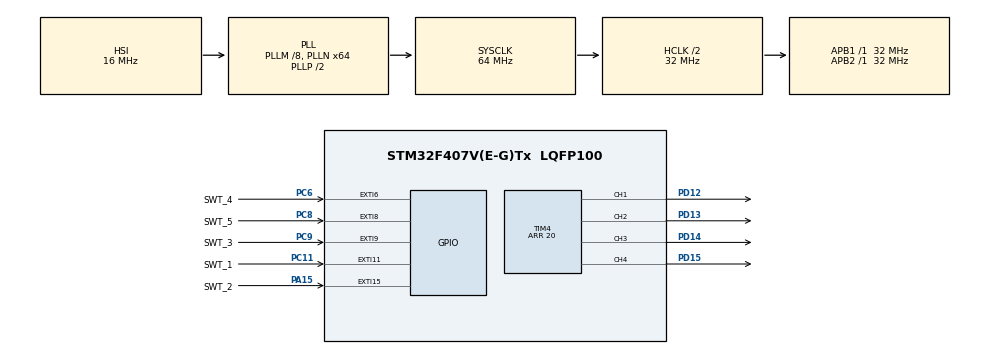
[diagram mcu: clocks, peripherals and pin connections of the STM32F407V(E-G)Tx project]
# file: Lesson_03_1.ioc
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Mcu.Family=STM32F4
Mcu.Name=STM32F407V(E-G)Tx
Mcu.Package=LQFP100
NVIC.EXTI15_10_IRQn=true\:0\:0\:false\:false\:true\:true\:true
NVIC.EXTI9_5_IRQn=true\:0\:0\:false\:false\:true\:true\:true
NVIC.PriorityGroup=NVIC_PRIORITYGROUP_4
NVIC.RCC_IRQn=true\:0\:0\:false\:false\:true\:true\:false
NVIC.TIM4_IRQn=true\:0\:0\:false\:false\:true\:true\:true
PA15.GPIO_Label=SWT_2
PA15.Signal=GPXTI15
PC11.GPIO_Label=SWT_1
PC11.Signal=GPXTI11
PC6.GPIO_Label=SWT_4
PC6.Signal=GPXTI6
PC8.GPIO_Label=SWT_5
PC8.Signal=GPXTI8
PC9.GPIO_Label=SWT_3
PC9.Signal=GPXTI9
PD12.GPIO_Speed=GPIO_SPEED_FREQ_HIGH
PD12.Signal=S_TIM4_CH1
PD13.GPIO_Speed=GPIO_SPEED_FREQ_HIGH
PD13.Signal=S_TIM4_CH2
PD14.GPIO_Speed=GPIO_SPEED_FREQ_HIGH
PD14.Signal=S_TIM4_CH3
PD15.GPIO_Speed=GPIO_SPEED_FREQ_HIGH
PD15.Signal=S_TIM4_CH4
PH0-OSC_IN.Mode=HSE-External-Oscillator
PH0-OSC_IN.Signal=RCC_OSC_IN
PH1-OSC_OUT.Mode=HSE-External-Oscillator
PH1-OSC_OUT.Signal=RCC_OSC_OUT
ProjectManager.HeapSize=0x200
ProjectManager.StackSize=0x400
ProjectManager.TargetToolchain=STM32CubeIDE
RCC.48MHZClocksFreq_Value=32000000
RCC.AHBCLKDivider=RCC_SYSCLK_DIV2
RCC.AHBFreq_Value=32000000
RCC.APB1Freq_Value=32000000
RCC.APB1TimFreq_Value=32000000
RCC.APB2Freq_Value=32000000
RCC.APB2TimFreq_Value=32000000
RCC.CortexFreq_Value=32000000
RCC.HCLKFreq_Value=32000000
RCC.HSE_Timout=100
RCC.HSE_VALUE=25000000
RCC.HSI_VALUE=16000000
RCC.LSE_VALUE=32768
RCC.PLLM=8
RCC.PLLN=64
RCC.SYSCLKFreq_VALUE=64000000
RCC.SYSCLKSource=RCC_SYSCLKSOURCE_PLLCLK
RCC.VCOOutputFreq_Value=128000000
SH.S_TIM4_CH1.0=TIM4_CH1,PWM Generation1 CH1
SH.S_TIM4_CH2.0=TIM4_CH2,PWM Generation2 CH2
SH.S_TIM4_CH3.0=TIM4_CH3,PWM Generation3 CH3
SH.S_TIM4_CH4.0=TIM4_CH4,PWM Generation4 CH4
TIM4.Channel-PWM\ Generation1\ CH1=TIM_CHANNEL_1
TIM4.Channel-PWM\ Generation2\ CH2=TIM_CHANNEL_2
TIM4.Channel-PWM\ Generation3\ CH3=TIM_CHANNEL_3
TIM4.Channel-PWM\ Generation4\ CH4=TIM_CHANNEL_4
TIM4.Period=20
VP_TIM4_VS_ClockSourceINT.Mode=Internal
board=custom

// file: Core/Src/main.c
/* USER CODE BEGIN Header */
/**
  ******************************************************************************
  * @file           : main.c
  * @brief          : Main program body
  ******************************************************************************
  * @attention
  *
  * <h2><center>&copy; Copyright (c) 2021 STMicroelectronics.
  * All rights reserved.</center></h2>
  *
  * This software component is licensed by ST under BSD 3-Clause license,
  * the "License"; You may not use this file except in compliance with the
  * License. You may obtain a copy of the License at:
  *                        opensource.org/licenses/BSD-3-Clause
  *
  ******************************************************************************
  */
/* USER CODE END Header */
#include "main.h"

TIM_HandleTypeDef htim4;

/* USER CODE BEGIN PV */
int value_prescaler[] = { 320, 160, 107, 80, 64, 54, 46, 40, 36, 32 };
int mode=0;							//variable for switch mode
int duty_cicly = 0; 				//variable for duty_cicly
int number_prescaler = 0;           //variable for choosing prescaler (switch frequency)

/* USER CODE END PV */

void SystemClock_Config(void);
static void MX_GPIO_Init(void);
static void MX_TIM4_Init(void);

/* USER CODE BEGIN 0 */
void HAL_GPIO_EXTI_Callback(uint16_t GPIO_Pin); //initialization interrupt handler for switch mode
/* USER CODE END 0 */

int main(void)
{

  /* MCU Configuration--------------------------------------------------------*/

  /* Reset of all peripherals, Initializes the Flash interface and the Systick. */
  HAL_Init();

  /* Configure the system clock */
  SystemClock_Config();

  /* Initialize all configured peripherals */
  MX_GPIO_Init();
  MX_TIM4_Init();
  /* USER CODE BEGIN 2 */
  HAL_TIM_PWM_Start(&htim4, TIM_CHANNEL_1);
  HAL_TIM_PWM_Start(&htim4, TIM_CHANNEL_2);
  HAL_TIM_PWM_Start(&htim4, TIM_CHANNEL_3);
  HAL_TIM_PWM_Start(&htim4, TIM_CHANNEL_4);
  //TIM4->CCR2=10;
  //TIM4->PSC=320;
  /* USER CODE END 2 */

  /* Infinite loop */
  while (1)
  {

    /* USER CODE BEGIN 3 */
	  void HAL_GPIO_EXTI_Callback(uint16_t GPIO_Pin);
	  TIM4->PSC=value_prescaler[number_prescaler];			//choosing duty cycle
	  switch (mode) // choose mode
	  	  	{
	  	  	case 0:  										//all LED off
	  	  	{
	  	  	TIM4->CCR1=0;
	  	  	TIM4->CCR2=0;
	  	  	TIM4->CCR3=0;
	  	  	TIM4->CCR4=0;
	  	  	}
	  	  		break;
	  	  	case 1:											//RED on
	  	  	{
	  	  	TIM4->CCR1=0;
			TIM4->CCR2=duty_cycle;
			TIM4->CCR3=0;
			TIM4->CCR4=0;
	  	  	}
	  	  		break;
	  	  	case 2:											//ORANGE on
	  	  	{
	  	  	TIM4->CCR1=0;
			TIM4->CCR2=0;
			TIM4->CCR3=duty_cycle;
			TIM4->CCR4=0;
	  	  	}
	  	  		break;
	  	  	case 3:											//GREEN on
	  	  	{
	  	  	TIM4->CCR1=0;
			TIM4->CCR2=0;
			TIM4->CCR3=0;
			TIM4->CCR4=duty_cycle;

	  	  	}
	  	  		break;
	  	  	case 4:                   						//BLUE on
	  	  {
			TIM4->CCR1=duty_cicly;
			TIM4->CCR2=0;
			TIM4->CCR3=0;
			TIM4->CCR4=0;
	  	  }
	  	  break;
	  	  	case 5:											//return mode
	  	  	{
	  	  		mode=0;
	  	  	}
	  			break;
	  	  }

  }
  /* USER CODE END 3 */
}

void SystemClock_Config(void)
{
  RCC_OscInitTypeDef RCC_OscInitStruct = {0};
  RCC_ClkInitTypeDef RCC_ClkInitStruct = {0};

  /** Configure the main internal regulator output voltage
  */
  __HAL_RCC_PWR_CLK_ENABLE();
  __HAL_PWR_VOLTAGESCALING_CONFIG(PWR_REGULATOR_VOLTAGE_SCALE1);
  /** Initializes the RCC Oscillators according to the specified parameters
  * in the RCC_OscInitTypeDef structure.
  */
  RCC_OscInitStruct.OscillatorType = RCC_OSCILLATORTYPE_HSI;
  RCC_OscInitStruct.HSIState = RCC_HSI_ON;
  RCC_OscInitStruct.HSICalibrationValue = RCC_HSICALIBRATION_DEFAULT;
  RCC_OscInitStruct.PLL.PLLState = RCC_PLL_ON;
  RCC_OscInitStruct.PLL.PLLSource = RCC_PLLSOURCE_HSI;
  RCC_OscInitStruct.PLL.PLLM = 8;
  RCC_OscInitStruct.PLL.PLLN = 64;
  RCC_OscInitStruct.PLL.PLLP = RCC_PLLP_DIV2;
  RCC_OscInitStruct.PLL.PLLQ = 4;
  if (HAL_RCC_OscConfig(&RCC_OscInitStruct) != HAL_OK)
  {
    Error_Handler();
  }
  /** Initializes the CPU, AHB and APB buses clocks
  */
  RCC_ClkInitStruct.ClockType = RCC_CLOCKTYPE_HCLK|RCC_CLOCKTYPE_SYSCLK
                              |RCC_CLOCKTYPE_PCLK1|RCC_CLOCKTYPE_PCLK2;
  RCC_ClkInitStruct.SYSCLKSource = RCC_SYSCLKSOURCE_PLLCLK;
  RCC_ClkInitStruct.AHBCLKDivider = RCC_SYSCLK_DIV2;
  RCC_ClkInitStruct.APB1CLKDivider = RCC_HCLK_DIV1;
  RCC_ClkInitStruct.APB2CLKDivider = RCC_HCLK_DIV1;

  if (HAL_RCC_ClockConfig(&RCC_ClkInitStruct, FLASH_LATENCY_1) != HAL_OK)
  {
    Error_Handler();
  }
}

static void MX_TIM4_Init(void)
{

  TIM_ClockConfigTypeDef sClockSourceConfig = {0};
  TIM_MasterConfigTypeDef sMasterConfig = {0};
  TIM_OC_InitTypeDef sConfigOC = {0};

  htim4.Instance = TIM4;
  htim4.Init.Prescaler = 0;
  htim4.Init.CounterMode = TIM_COUNTERMODE_UP;
  htim4.Init.Period = 20;
  htim4.Init.ClockDivision = TIM_CLOCKDIVISION_DIV1;
  htim4.Init.AutoReloadPreload = TIM_AUTORELOAD_PRELOAD_DISABLE;
  if (HAL_TIM_Base_Init(&htim4) != HAL_OK)
  {
    Error_Handler();
  }
  sClockSourceConfig.ClockSource = TIM_CLOCKSOURCE_INTERNAL;
  if (HAL_TIM_ConfigClockSource(&htim4, &sClockSourceConfig) != HAL_OK)
  {
    Error_Handler();
  }
  if (HAL_TIM_PWM_Init(&htim4) != HAL_OK)
  {
    Error_Handler();
  }
  sMasterConfig.MasterOutputTrigger = TIM_TRGO_RESET;
  sMasterConfig.MasterSlaveMode = TIM_MASTERSLAVEMODE_DISABLE;
  if (HAL_TIMEx_MasterConfigSynchronization(&htim4, &sMasterConfig) != HAL_OK)
  {
    Error_Handler();
  }
  sConfigOC.OCMode = TIM_OCMODE_PWM1;
  sConfigOC.Pulse = 0;
  sConfigOC.OCPolarity = TIM_OCPOLARITY_HIGH;
  sConfigOC.OCFastMode = TIM_OCFAST_DISABLE;
  if (HAL_TIM_PWM_ConfigChannel(&htim4, &sConfigOC, TIM_CHANNEL_1) != HAL_OK)
  {
    Error_Handler();
  }
  if (HAL_TIM_PWM_ConfigChannel(&htim4, &sConfigOC, TIM_CHANNEL_2) != HAL_OK)
  {
    Error_Handler();
  }
  if (HAL_TIM_PWM_ConfigChannel(&htim4, &sConfigOC, TIM_CHANNEL_3) != HAL_OK)
  {
    Error_Handler();
  }
  if (HAL_TIM_PWM_ConfigChannel(&htim4, &sConfigOC, TIM_CHANNEL_4) != HAL_OK)
  {
    Error_Handler();
  }
  HAL_TIM_MspPostInit(&htim4);

}

static void MX_GPIO_Init(void)
{
  GPIO_InitTypeDef GPIO_InitStruct = {0};

  /* GPIO Ports Clock Enable */
  __HAL_RCC_GPIOH_CLK_ENABLE();
  __HAL_RCC_GPIOD_CLK_ENABLE();
  __HAL_RCC_GPIOC_CLK_ENABLE();
  __HAL_RCC_GPIOA_CLK_ENABLE();

  /*Configure GPIO pins : SWT_4_Pin SWT_5_Pin SWT_3_Pin SWT_1_Pin */
  GPIO_InitStruct.Pin = SWT_4_Pin|SWT_5_Pin|SWT_3_Pin|SWT_1_Pin;
  GPIO_InitStruct.Mode = GPIO_MODE_IT_RISING;
  GPIO_InitStruct.Pull = GPIO_NOPULL;
  HAL_GPIO_Init(GPIOC, &GPIO_InitStruct);

  /*Configure GPIO pin : SWT_2_Pin */
  GPIO_InitStruct.Pin = SWT_2_Pin;
  GPIO_InitStruct.Mode = GPIO_MODE_IT_RISING;
  GPIO_InitStruct.Pull = GPIO_NOPULL;
  HAL_GPIO_Init(SWT_2_GPIO_Port, &GPIO_InitStruct);

  /* EXTI interrupt init*/
  HAL_NVIC_SetPriority(EXTI9_5_IRQn, 0, 0);
  HAL_NVIC_EnableIRQ(EXTI9_5_IRQn);

  HAL_NVIC_SetPriority(EXTI15_10_IRQn, 0, 0);
  HAL_NVIC_EnableIRQ(EXTI15_10_IRQn);

}

/* USER CODE BEGIN 4 */
void HAL_GPIO_EXTI_Callback(uint16_t GPIO_Pin) 	//interrupt handler for switch LEDs, switch duty_cycle
{
	switch (GPIO_Pin)
	{
	case SWT_2_Pin:								//switch LEDs
	{
		mode++;
	}
			break;
	case SWT_1_Pin:								//choose duty_cycle
	{
		if(duty_cicly<20)
			{
			duty_cicly++;
			}
		else
			{
			duty_cicly=0;
			}
	}
		break;

	case SWT_3_Pin:								//choose duty_cycle
	{
		if(duty_cicly>0)
			{
			duty_cicly--;
			}
		else
			{
			duty_cicly=20;
			}
	}
		break;

	case SWT_4_Pin:								//switch frequency
	{
		if(number_prescaler<9)
		{
		number_prescaler++;
		}
		else
		{
		number_prescaler=0;
		}
	}
		break;

	case SWT_5_Pin:								//switch frequency
	{
		if(number_prescaler>0)
		{
		number_prescaler--;
		}
		else
		{
		number_prescaler=9;
		}

	}
		break;
	}
}

/* USER CODE END 4 */

void Error_Handler(void)
{
  __disable_irq();
  while (1)
  {
  }
}

/************************ (C) COPYRIGHT STMicroelectronics *****END OF FILE****/
